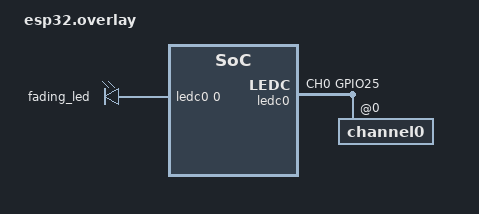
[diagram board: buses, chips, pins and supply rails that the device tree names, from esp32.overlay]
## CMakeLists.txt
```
cmake_minimum_required(VERSION 3.22)
set(BOARD esp32)

find_package(Zephyr)
project(hello_world_blinky)

target_sources(app PRIVATE src/main.c)
```

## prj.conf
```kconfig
CONFIG_PWM=y
```

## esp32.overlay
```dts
/ {
	pwmleds {
		compatible = "pwm-leds";
		fading_led: fading_led {
			    pwms = <&ledc0 0 10000 PWM_POLARITY_NORMAL>;
		};
	};
};

&pinctrl {
        ledc0_default: ledc0_default {
	        group1 {
		        pinmux = <LEDC_CH0_GPIO25>;
			output-enable;
		};
	};
};

&ledc0 {
        pinctrl-0 = <&ledc0_default>;
	pinctrl-names = "default";
        status = "okay";
	#address-cells = <1>;
	#size-cells = <0>;
	channel0@0 {
	        reg = <0x0>;
		timer = <0>;
	};
};
```

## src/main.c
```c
#include <zephyr/kernel.h>
#include <zephyr/device.h>
#include <zephyr/drivers/pwm.h>

#define NUM_STEPS 100U
#define SLEEP_DELTA_MSEC 20U

static const struct pwm_dt_spec fading_led =
  PWM_DT_SPEC_GET(DT_NODELABEL(fading_led));

static uint32_t pulse_width_nsec = 0U;
static uint32_t pulse_width_delta_nsec = 0U;
static uint32_t steps_taken = 0U;
static bool increasing_intensity = true;
int ret;

void led_delta_timer_handler(struct k_timer *timer_info)
{
  if (increasing_intensity) {
    if (steps_taken < NUM_STEPS) {
      ret = pwm_set_pulse_dt(&fading_led, pulse_width_nsec);
      steps_taken++;
      pulse_width_nsec += pulse_width_delta_nsec;
    } else {
      increasing_intensity = false;
      steps_taken--;
      pulse_width_nsec -= pulse_width_delta_nsec;
    }
  } else {
    if (steps_taken > 0) {
      ret = pwm_set_pulse_dt(&fading_led, pulse_width_nsec);
      steps_taken--;
      pulse_width_nsec -= pulse_width_delta_nsec;
    } else {
      increasing_intensity = true;
      steps_taken++;
      pulse_width_nsec += pulse_width_delta_nsec;
    }
  }
}

K_TIMER_DEFINE(led_delta_timer, led_delta_timer_handler, NULL);

void main(void)
{
  if (!device_is_ready(fading_led.dev)) {
    printk("Error: PWM device %s is not ready\n",
	   fading_led.dev->name);
    return;
  }

  pulse_width_delta_nsec = fading_led.period / NUM_STEPS;
  
  k_timer_start(&led_delta_timer, K_MSEC(SLEEP_DELTA_MSEC),
		K_MSEC(SLEEP_DELTA_MSEC));
}
```
